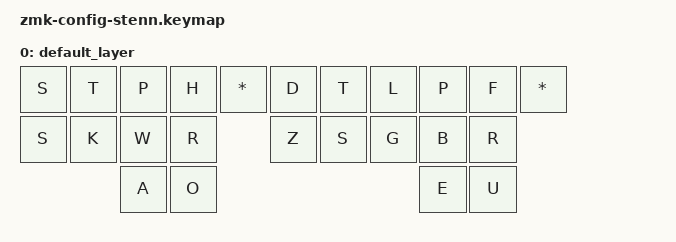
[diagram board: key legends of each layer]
#include <behaviors.dtsi>
#include <dt-bindings/zmk/keys.h>

/ {
    keymap {
        compatible = "zmk,keymap";

        default_layer { // Layer 0
            // ----------------------------------------------------------------------------------------------------------------------------------------
            // |     S     |     T     |     P     |     H     |     *     |  |     D     |     T     |     L     |     P     |     F     |     *     |
            // |     S     |     K     |     W     |     R     |           |  |     Z     |     S     |     G     |     B     |     R     |
                                       |     A     |     O     |           |  |                                   |     E     |     U     |
            
            bindings = <
                &kp S    &kp T    &kp P     &kp H     &kp *        &kp D     &kp T     &kp L     &kp P     &kp F     &kp *
                &kp S    &kp K    &kp W     &kp R                  &kp Z     &kp S     &kp G     &kp B     &kp R
                                  &kp A     &kp O                                                &kp E     &kp U                                
            >;
        };
    };
 };
